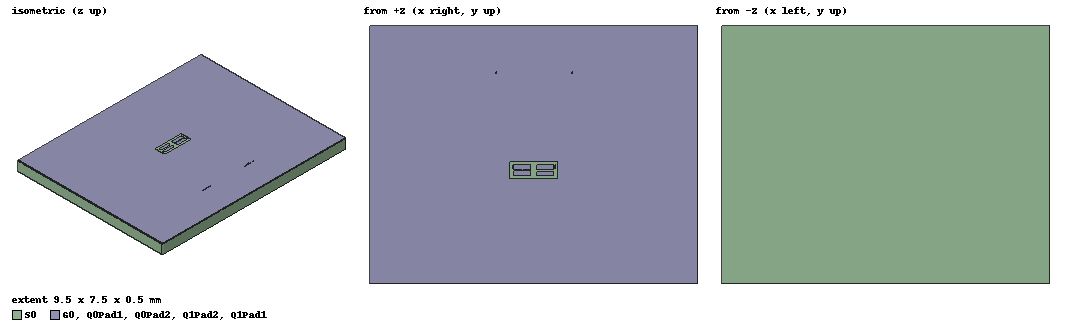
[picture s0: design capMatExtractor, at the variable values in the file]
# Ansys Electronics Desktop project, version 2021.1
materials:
  vacuum: permittivity=1
  copper: permeability=0.999991 conductivity=58000000
  silicon: permittivity=11.9
  perfect conductor: conductivity=1e+30

design capMatExtractor (Q3D Extractor, model units mm)
options: SParamCalcMethod=EqTransLine Calculate_Lossy_Dielectrics
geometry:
  S0 [silicon] = polyline(z=0um, xy in um: (-4750, -3750) (-4750, 3750) (4750, 3750) (4750, -3750) (-4750, -3750), closed, covered)
  S0.sweep_along_vector((0mm, 0mm, 500um))
  G0 [perfect conductor] = polyline(z=500um, xy in um: (-4750, -3750) (-4750, 3750) (4750, 3750) (4750, -3750) (-4750, -3750), closed, covered)
  Q0Pad1 [perfect conductor] = polyline(z=500um, xy in um: (-581, -439) (-581, -299) (-81, -299) (-81, -439) (-329, -439) (-329, -450) (-333, -450) (-333, -439) (-581, -439), closed, covered)
  Q0Pad1TrenchComponent = polyline(z=499.9um, xy in um: (-581, -439) (-581, -299) (-81, -299) (-81, -439) (-329, -439) (-329, -450) (-333, -450) (-333, -439) (-581, -439), closed, covered)
  Q0Pad1TrenchPeriphery0 = polyline(z=499.9um, xy in um: (-681, -539) (-681, -199) (19, -199) (19, -539) (-681, -539), closed, covered)
  Q0Pad1TrenchPeriphery1 = polyline(z=499.9um, xy in um: (-363, -454) (-363, -439) (-299, -439) (-299, -454) (-363, -454), closed, covered)
  Q0Pad1TrenchPeriphery0.sweep_along_vector((0mm, 0mm, 0.1um))
  S0.subtract(Q0Pad1TrenchPeriphery0)
  Q0Pad1TrenchPeriphery1.sweep_along_vector((0mm, 0mm, 0.1um))
  S0.subtract(Q0Pad1TrenchPeriphery1)
  Q0Pad1periphery0 = polyline(z=500um, xy in um: (-681, -539) (-681, -199) (19, -199) (19, -539) (-681, -539), closed, covered)
  G0.subtract(Q0Pad1periphery0)
  Q0Pad1periphery1 = polyline(z=500um, xy in um: (-363, -454) (-363, -439) (-299, -439) (-299, -454) (-363, -454), closed, covered)
  G0.subtract(Q0Pad1periphery1)
  Q0Pad2 [perfect conductor] = polyline(z=500um, xy in um: (-81, -469) (-81, -609) (-581, -609) (-581, -469) (-333, -469) (-333, -458) (-329, -458) (-329, -469) (-81, -469), closed, covered)
  Q0Pad2TrenchComponent = polyline(z=499.9um, xy in um: (-81, -469) (-81, -609) (-581, -609) (-581, -469) (-333, -469) (-333, -458) (-329, -458) (-329, -469) (-81, -469), closed, covered)
  Q0Pad2TrenchPeriphery0 = polyline(z=499.9um, xy in um: (19, -369) (19, -709) (-681, -709) (-681, -369) (19, -369), closed, covered)
  Q0Pad2TrenchPeriphery1 = polyline(z=499.9um, xy in um: (-299, -454) (-299, -469) (-363, -469) (-363, -454) (-299, -454), closed, covered)
  Q0Pad2TrenchPeriphery0.sweep_along_vector((0mm, 0mm, 0.1um))
  S0.subtract(Q0Pad2TrenchPeriphery0)
  Q0Pad2TrenchPeriphery1.sweep_along_vector((0mm, 0mm, 0.1um))
  S0.subtract(Q0Pad2TrenchPeriphery1)
  Q0Pad2periphery0 = polyline(z=500um, xy in um: (19, -369) (19, -709) (-681, -709) (-681, -369) (19, -369), closed, covered)
  G0.subtract(Q0Pad2periphery0)
  Q0Pad2periphery1 = polyline(z=500um, xy in um: (-299, -454) (-299, -469) (-363, -469) (-363, -454) (-299, -454), closed, covered)
  G0.subtract(Q0Pad2periphery1)
  Q1Pad1 [perfect conductor] = polyline(z=500um, xy in um: (81, -421) (81, -301) (581, -301) (581, -421) (333, -421) (333, -450) (329, -450) (329, -421) (81, -421), closed, covered)
  Q1Pad1TrenchComponent = polyline(z=499.9um, xy in um: (81, -421) (81, -301) (581, -301) (581, -421) (333, -421) (333, -450) (329, -450) (329, -421) (81, -421), closed, covered)
  Q1Pad1TrenchPeriphery0 = polyline(z=499.9um, xy in um: (-19, -521) (-19, -201) (681, -201) (681, -521) (-19, -521), closed, covered)
  Q1Pad1TrenchPeriphery1 = polyline(z=499.9um, xy in um: (299, -454) (299, -421) (363, -421) (363, -454) (299, -454), closed, covered)
  Q1Pad1TrenchPeriphery0.sweep_along_vector((0mm, 0mm, 0.1um))
  S0.subtract(Q1Pad1TrenchPeriphery0)
  Q1Pad1TrenchPeriphery1.sweep_along_vector((0mm, 0mm, 0.1um))
  S0.subtract(Q1Pad1TrenchPeriphery1)
  Q1Pad1periphery0 = polyline(z=500um, xy in um: (-19, -521) (-19, -201) (681, -201) (681, -521) (-19, -521), closed, covered)
  G0.subtract(Q1Pad1periphery0)
  Q1Pad1periphery1 = polyline(z=500um, xy in um: (299, -454) (299, -421) (363, -421) (363, -454) (299, -454), closed, covered)
  G0.subtract(Q1Pad1periphery1)
  Q1Pad2 [perfect conductor] = polyline(z=500um, xy in um: (581, -487) (581, -607) (81, -607) (81, -487) (329, -487) (329, -458) (333, -458) (333, -487) (581, -487), closed, covered)
  Q1Pad2TrenchComponent = polyline(z=499.9um, xy in um: (581, -487) (581, -607) (81, -607) (81, -487) (329, -487) (329, -458) (333, -458) (333, -487) (581, -487), closed, covered)
  Q1Pad2TrenchPeriphery0 = polyline(z=499.9um, xy in um: (681, -387) (681, -707) (-19, -707) (-19, -387) (681, -387), closed, covered)
  Q1Pad2TrenchPeriphery1 = polyline(z=499.9um, xy in um: (363, -454) (363, -487) (299, -487) (299, -454) (363, -454), closed, covered)
  Q1Pad2TrenchPeriphery0.sweep_along_vector((0mm, 0mm, 0.1um))
  S0.subtract(Q1Pad2TrenchPeriphery0)
  Q1Pad2TrenchPeriphery1.sweep_along_vector((0mm, 0mm, 0.1um))
  S0.subtract(Q1Pad2TrenchPeriphery1)
  Q1Pad2periphery0 = polyline(z=500um, xy in um: (681, -387) (681, -707) (-19, -707) (-19, -387) (681, -387), closed, covered)
  G0.subtract(Q1Pad2periphery0)
  Q1Pad2periphery1 = polyline(z=500um, xy in um: (363, -454) (363, -487) (299, -487) (299, -454) (363, -454), closed, covered)
  G0.subtract(Q1Pad2periphery1)
  R0Pad1 [perfect conductor] = polyline(z=500um, xy in um: (-895.54, 2406) (-895.54, 2396) (-1090.54, 2396) (-1090.54, 2371) (-1090.54, 2371) (-1090.54, 2346) (-1100.54, 2346) (-1100.54, 2371) (-1100.54, 2371) (-1100.54, 2396) (-1295.54, 2396) (-1295.54, 2406) (-895.54, 2406), closed, covered)
  R0Pad1TrenchComponent = polyline(z=499.9um, xy in um: (-895.54, 2406) (-895.54, 2396) (-1090.54, 2396) (-1090.54, 2371) (-1090.54, 2371) (-1090.54, 2346) (-1100.54, 2346) (-1100.54, 2371) (-1100.54, 2371) (-1100.54, 2396) (-1295.54, 2396) (-1295.54, 2406) (-895.54, 2406), closed, covered)
  R0Pad1TrenchPeriphery0 = polyline(z=499.9um, xy in um: (-871.54, 2412) (-871.54, 2390) (-1319.54, 2390) (-1319.54, 2412) (-871.54, 2412), closed, covered)
  R0Pad1TrenchPeriphery1 = polyline(z=499.9um, xy in um: (-1084.54, 2402) (-1084.54, 2365) (-1106.54, 2365) (-1106.54, 2402) (-1084.54, 2402), closed, covered)
  R0Pad1TrenchPeriphery2 = polyline(z=499.9um, xy in um: (-1084.54, 2372) (-1084.54, 2345) (-1106.54, 2345) (-1106.54, 2372) (-1084.54, 2372), closed, covered)
  R0Pad1TrenchPeriphery0.sweep_along_vector((0mm, 0mm, 0.1um))
  S0.subtract(R0Pad1TrenchPeriphery0)
  R0Pad1TrenchPeriphery1.sweep_along_vector((0mm, 0mm, 0.1um))
  S0.subtract(R0Pad1TrenchPeriphery1)
  R0Pad1TrenchPeriphery2.sweep_along_vector((0mm, 0mm, 0.1um))
  S0.subtract(R0Pad1TrenchPeriphery2)
  R0Pad1periphery0 = polyline(z=500um, xy in um: (-871.54, 2412) (-871.54, 2390) (-1319.54, 2390) (-1319.54, 2412) (-871.54, 2412), closed, covered)
  G0.subtract(R0Pad1periphery0)
  R0Pad1periphery1 = polyline(z=500um, xy in um: (-1084.54, 2402) (-1084.54, 2365) (-1106.54, 2365) (-1106.54, 2402) (-1084.54, 2402), closed, covered)
  G0.subtract(R0Pad1periphery1)
  R0Pad1periphery2 = polyline(z=500um, xy in um: (-1084.54, 2372) (-1084.54, 2345) (-1106.54, 2345) (-1106.54, 2372) (-1084.54, 2372), closed, covered)
  G0.subtract(R0Pad1periphery2)
  R0Pad2 [perfect conductor] = polyline(z=500um, xy in um: (-589.00605, -400.53747) (-619.00605, -400.53728) (-619.00576, -355.53728) (-644.00576, -355.53712) (-644.00576, -355.53712) (-669.00576, -355.53697) (-669.0057, -345.53697) (-644.0057, -345.53712) (-644.0057, -345.53712) (-619.0057, -345.53728) (-619.00542, -300.53728) (-589.00542, -300.53747) (-589.00605, -400.53747), closed, covered)
  R0Pad2TrenchComponent = polyline(z=499.9um, xy in um: (-589.00605, -400.53747) (-619.00605, -400.53728) (-619.00576, -355.53728) (-644.00576, -355.53712) (-644.00576, -355.53712) (-669.00576, -355.53697) (-669.0057, -345.53697) (-644.0057, -345.53712) (-644.0057, -345.53712) (-619.0057, -345.53728) (-619.00542, -300.53728) (-589.00542, -300.53747) (-589.00605, -400.53747), closed, covered)
  R0Pad2TrenchPeriphery0 = polyline(z=499.9um, xy in um: (-559.00624, -430.53766) (-649.00624, -430.53709) (-649.00523, -270.53709) (-559.00523, -270.53766) (-559.00624, -430.53766), closed, covered)
  R0Pad2TrenchPeriphery1 = polyline(z=499.9um, xy in um: (-613.0058, -361.53732) (-650.0058, -361.53709) (-650.00566, -339.53709) (-613.00566, -339.53732) (-613.0058, -361.53732), closed, covered)
  R0Pad2TrenchPeriphery2 = polyline(z=499.9um, xy in um: (-643.0058, -361.53713) (-670.0058, -361.53696) (-670.00566, -339.53696) (-643.00566, -339.53713) (-643.0058, -361.53713), closed, covered)
  R0Pad2TrenchPeriphery0.sweep_along_vector((0mm, 0mm, 0.1um))
  S0.subtract(R0Pad2TrenchPeriphery0)
  R0Pad2TrenchPeriphery1.sweep_along_vector((0mm, 0mm, 0.1um))
  S0.subtract(R0Pad2TrenchPeriphery1)
  R0Pad2TrenchPeriphery2.sweep_along_vector((0mm, 0mm, 0.1um))
  S0.subtract(R0Pad2TrenchPeriphery2)
  R0Pad2periphery0 = polyline(z=500um, xy in um: (-559.00624, -430.53766) (-649.00624, -430.53709) (-649.00523, -270.53709) (-559.00523, -270.53766) (-559.00624, -430.53766), closed, covered)
  G0.subtract(R0Pad2periphery0)
  R0Pad2periphery1 = polyline(z=500um, xy in um: (-613.0058, -361.53732) (-650.0058, -361.53709) (-650.00566, -339.53709) (-613.00566, -339.53732) (-613.0058, -361.53732), closed, covered)
  G0.subtract(R0Pad2periphery1)
  R0Pad2periphery2 = polyline(z=500um, xy in um: (-643.0058, -361.53713) (-670.0058, -361.53696) (-670.00566, -339.53696) (-643.00566, -339.53713) (-643.0058, -361.53713), closed, covered)
  G0.subtract(R0Pad2periphery2)
  R1Pad1 [perfect conductor] = polyline(z=500um, xy in um: (1316, 2406) (1316, 2396) (1121, 2396) (1121, 2371) (1121, 2371) (1121, 2346) (1111, 2346) (1111, 2371) (1111, 2371) (1111, 2396) (916, 2396) (916, 2406) (1316, 2406), closed, covered)
  R1Pad1TrenchComponent = polyline(z=499.9um, xy in um: (1316, 2406) (1316, 2396) (1121, 2396) (1121, 2371) (1121, 2371) (1121, 2346) (1111, 2346) (1111, 2371) (1111, 2371) (1111, 2396) (916, 2396) (916, 2406) (1316, 2406), closed, covered)
  R1Pad1TrenchPeriphery0 = polyline(z=499.9um, xy in um: (1340, 2412) (1340, 2390) (892, 2390) (892, 2412) (1340, 2412), closed, covered)
  R1Pad1TrenchPeriphery1 = polyline(z=499.9um, xy in um: (1127, 2402) (1127, 2365) (1105, 2365) (1105, 2402) (1127, 2402), closed, covered)
  R1Pad1TrenchPeriphery2 = polyline(z=499.9um, xy in um: (1127, 2372) (1127, 2345) (1105, 2345) (1105, 2372) (1127, 2372), closed, covered)
  R1Pad1TrenchPeriphery0.sweep_along_vector((0mm, 0mm, 0.1um))
  S0.subtract(R1Pad1TrenchPeriphery0)
  R1Pad1TrenchPeriphery1.sweep_along_vector((0mm, 0mm, 0.1um))
  S0.subtract(R1Pad1TrenchPeriphery1)
  R1Pad1TrenchPeriphery2.sweep_along_vector((0mm, 0mm, 0.1um))
  S0.subtract(R1Pad1TrenchPeriphery2)
  R1Pad1periphery0 = polyline(z=500um, xy in um: (1340, 2412) (1340, 2390) (892, 2390) (892, 2412) (1340, 2412), closed, covered)
  G0.subtract(R1Pad1periphery0)
  R1Pad1periphery1 = polyline(z=500um, xy in um: (1127, 2402) (1127, 2365) (1105, 2365) (1105, 2402) (1127, 2402), closed, covered)
  G0.subtract(R1Pad1periphery1)
  R1Pad1periphery2 = polyline(z=500um, xy in um: (1127, 2372) (1127, 2345) (1105, 2345) (1105, 2372) (1127, 2372), closed, covered)
  G0.subtract(R1Pad1periphery2)
  R1Pad2 [perfect conductor] = polyline(z=500um, xy in um: (609.14711, -301.35578) (639.14711, -301.35559) (639.14739, -346.35559) (664.14739, -346.35543) (664.14739, -346.35543) (689.14739, -346.35528) (689.14746, -356.35528) (664.14746, -356.35543) (664.14746, -356.35543) (639.14746, -356.35559) (639.14774, -401.35559) (609.14774, -401.35578) (609.14711, -301.35578), closed, covered)
  R1Pad2TrenchComponent = polyline(z=499.9um, xy in um: (609.14711, -301.35578) (639.14711, -301.35559) (639.14739, -346.35559) (664.14739, -346.35543) (664.14739, -346.35543) (689.14739, -346.35528) (689.14746, -356.35528) (664.14746, -356.35543) (664.14746, -356.35543) (639.14746, -356.35559) (639.14774, -401.35559) (609.14774, -401.35578) (609.14711, -301.35578), closed, covered)
  R1Pad2TrenchPeriphery0 = polyline(z=499.9um, xy in um: (579.14692, -271.35597) (669.14692, -271.3554) (669.14793, -431.3554) (579.14793, -431.35597) (579.14692, -271.35597), closed, covered)
  R1Pad2TrenchPeriphery1 = polyline(z=499.9um, xy in um: (633.14735, -340.35563) (670.14735, -340.3554) (670.14749, -362.3554) (633.14749, -362.35563) (633.14735, -340.35563), closed, covered)
  R1Pad2TrenchPeriphery2 = polyline(z=499.9um, xy in um: (663.14735, -340.35544) (690.14735, -340.35527) (690.14749, -362.35527) (663.14749, -362.35544) (663.14735, -340.35544), closed, covered)
  R1Pad2TrenchPeriphery0.sweep_along_vector((0mm, 0mm, 0.1um))
  S0.subtract(R1Pad2TrenchPeriphery0)
  R1Pad2TrenchPeriphery1.sweep_along_vector((0mm, 0mm, 0.1um))
  S0.subtract(R1Pad2TrenchPeriphery1)
  R1Pad2TrenchPeriphery2.sweep_along_vector((0mm, 0mm, 0.1um))
  S0.subtract(R1Pad2TrenchPeriphery2)
  R1Pad2periphery0 = polyline(z=500um, xy in um: (579.14692, -271.35597) (669.14692, -271.3554) (669.14793, -431.3554) (579.14793, -431.35597) (579.14692, -271.35597), closed, covered)
  G0.subtract(R1Pad2periphery0)
  R1Pad2periphery1 = polyline(z=500um, xy in um: (633.14735, -340.35563) (670.14735, -340.3554) (670.14749, -362.3554) (633.14749, -362.35563) (633.14735, -340.35563), closed, covered)
  G0.subtract(R1Pad2periphery1)
  R1Pad2periphery2 = polyline(z=500um, xy in um: (663.14735, -340.35544) (690.14735, -340.35527) (690.14749, -362.35527) (663.14749, -362.35544) (663.14735, -340.35544), closed, covered)
  G0.subtract(R1Pad2periphery2)
  Q0Pad1TrenchComponent.sweep_along_vector((0mm, 0mm, 0.1um))
  S0.unite(Q0Pad1TrenchComponent)
  Q0Pad2TrenchComponent.sweep_along_vector((0mm, 0mm, 0.1um))
  S0.unite(Q0Pad2TrenchComponent)
  Q1Pad1TrenchComponent.sweep_along_vector((0mm, 0mm, 0.1um))
  S0.unite(Q1Pad1TrenchComponent)
  Q1Pad2TrenchComponent.sweep_along_vector((0mm, 0mm, 0.1um))
  S0.unite(Q1Pad2TrenchComponent)
  R0Pad1TrenchComponent.sweep_along_vector((0mm, 0mm, 0.1um))
  S0.unite(R0Pad1TrenchComponent)
  R0Pad2TrenchComponent.sweep_along_vector((0mm, 0mm, 0.1um))
  S0.unite(R0Pad2TrenchComponent)
  R1Pad1TrenchComponent.sweep_along_vector((0mm, 0mm, 0.1um))
  S0.unite(R1Pad1TrenchComponent)
  R1Pad2TrenchComponent.sweep_along_vector((0mm, 0mm, 0.1um))
  S0.unite(R1Pad2TrenchComponent)
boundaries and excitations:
  ThinCondQ0Pad1: ThinConductor Objects=Q0Pad1 Material="perfect conductor" Thickness=0.1um
  Q0Pad1: SignalNet Objects=Q0Pad1
  ThinCondQ0Pad2: ThinConductor Objects=Q0Pad2 Material="perfect conductor" Thickness=0.1um
  Q0Pad2: SignalNet Objects=Q0Pad2
  ThinCondQ1Pad1: ThinConductor Objects=Q1Pad1 Material="perfect conductor" Thickness=0.1um
  Q1Pad1: SignalNet Objects=Q1Pad1
  ThinCondQ1Pad2: ThinConductor Objects=Q1Pad2 Material="perfect conductor" Thickness=0.1um
  Q1Pad2: SignalNet Objects=Q1Pad2
  ThinCondR0Pad1: ThinConductor Objects=R0Pad1 Material="perfect conductor" Thickness=0.1um
  R0Pad1: SignalNet Objects=R0Pad1
  ThinCondR0Pad2: ThinConductor Objects=R0Pad2 Material="perfect conductor" Thickness=0.1um
  R0Pad2: SignalNet Objects=R0Pad2
  ThinCondR1Pad1: ThinConductor Objects=R1Pad1 Material="perfect conductor" Thickness=0.1um
  R1Pad1: SignalNet Objects=R1Pad1
  ThinCondR1Pad2: ThinConductor Objects=R1Pad2 Material="perfect conductor" Thickness=0.1um
  R1Pad2: SignalNet Objects=R1Pad2
  ThinCondG0: ThinConductor Objects=G0 Material="perfect conductor" Thickness=0.1um
  GroundNet1: GroundNet Objects=G0
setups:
  capSim: Matrix AdaptiveFreq=5GHz SaveFields Cap{MaxPass=99 MinPass=1 MinConvPass=1 PerError=1 PerRefine=100 AutoIncreaseSolutionOrder SolutionOrder=High Solver_Type=Iterative}
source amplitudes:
  Q0Pad1: Cap 1V 0deg
  Q0Pad2, Q1Pad1, Q1Pad2, R0Pad1, R0Pad2, R1Pad1, R1Pad2: Cap 0V 0deg
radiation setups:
  Box1: Near Box  Length=2mm Width=2mm LengthSamples=21 WidthSamples=21 CoordSystem=Global Height=2mm HeightSamples=21
